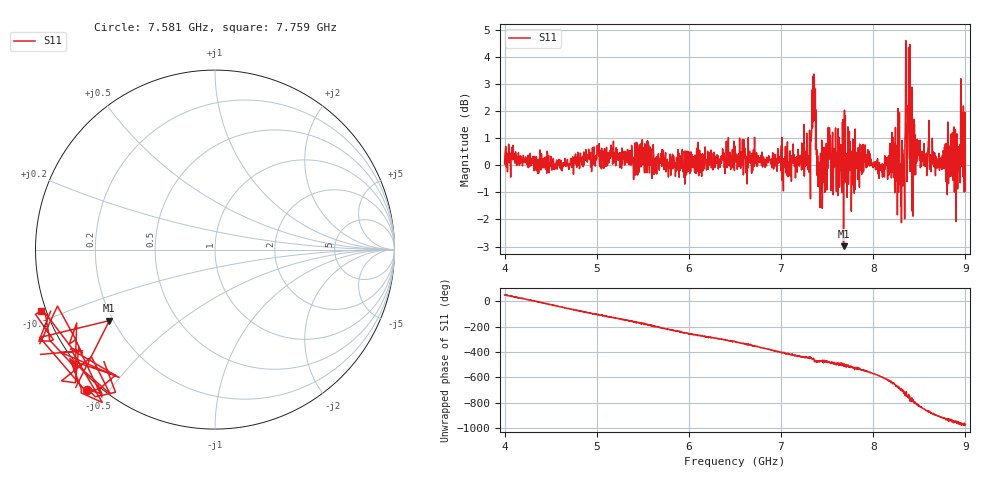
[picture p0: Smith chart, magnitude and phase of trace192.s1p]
! Created with skrf 1.8.0 (http://scikit-rf.org).
# Hz S RI R 50.0
!freq ReS11 ImS11
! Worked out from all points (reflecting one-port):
!   1601 points, 4 GHz to 9 GHz, reference 50 ohm
!   lowest |S11| = -3.0 dB at 7.678 GHz (marker M1), VSWR 5.88, Z = 9.27 - j14.8 ohm
!   phase of S11 starts at 51 deg and turns -1022 deg over the sweep
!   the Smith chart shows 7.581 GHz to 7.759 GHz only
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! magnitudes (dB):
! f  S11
! 4 GHz  0.0
! 4.625 GHz  -0.2
! 5.25 GHz  -0.1
! 5.875 GHz  0.3
! 6.5 GHz  0.3
! 7.125 GHz  0.2
! 7.294 GHz  0.2
! 7.356 GHz  3.4
! 7.4 GHz  -0.8
! 7.425 GHz  -0.6
! 7.512 GHz  1.4
! 7.591 GHz  1.4
! 7.678 GHz  -3.0
! 7.75 GHz  0.4
! 8.097 GHz  0.1
! 8.262 GHz  -1.8
! 8.316 GHz  0.1
! 8.334 GHz  0.1
! 8.375 GHz  1.6
! 8.447 GHz  1.5
! 8.466 GHz  0.2
! 8.562 GHz  0.0
! 8.812 GHz  0.8
! 8.872 GHz  1.3
! 8.919 GHz  -0.3
! 8.956 GHz  0.1
! 8.972 GHz  0.5
! 9 GHz  -0.9
